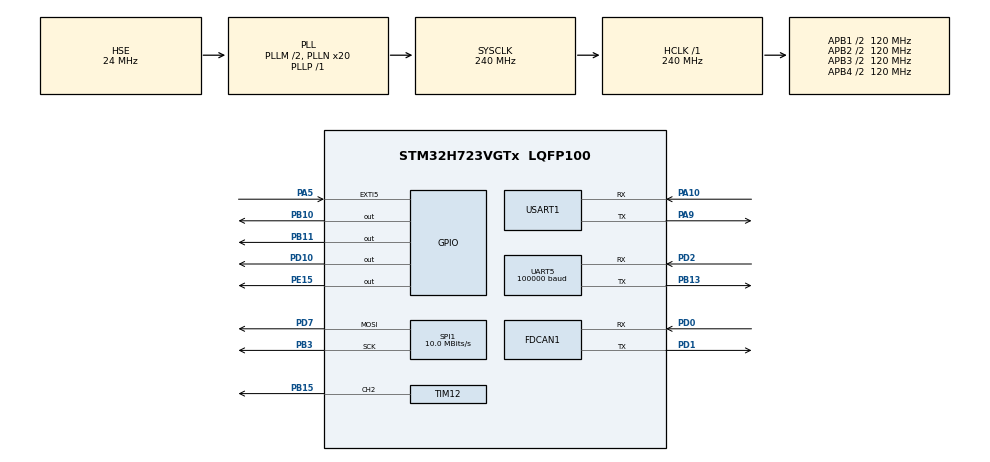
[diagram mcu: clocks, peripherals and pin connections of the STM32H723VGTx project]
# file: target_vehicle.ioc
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CORTEX_M7.AccessPermission_Spec=MPU_REGION_FULL_ACCESS
CORTEX_M7.BaseAddress_Spec=0x30000000
CORTEX_M7.CPU_DCache=Disabled
CORTEX_M7.CPU_ICache=Disabled
CORTEX_M7.IsShareable_Spec=MPU_ACCESS_SHAREABLE
CORTEX_M7.MPU_Control=__NULL
CORTEX_M7.Size_Spec=MPU_REGION_SIZE_16KB
CORTEX_M7.default_mode_Activation=1
FDCAN1.AutoRetransmission=ENABLE
FDCAN1.CalculateBaudRateNominal=1000000
FDCAN1.CalculateTimeBitNominal=1000
FDCAN1.CalculateTimeQuantumNominal=50.0
FDCAN1.DataSyncJumpWidth=2
FDCAN1.DataTimeSeg1=13
FDCAN1.DataTimeSeg2=2
FDCAN1.ExtFiltersNbr=4
FDCAN1.FrameFormat=FDCAN_FRAME_CLASSIC
FDCAN1.Mode=FDCAN_MODE_NORMAL
FDCAN1.NominalPrescaler=4
FDCAN1.NominalTimeSeg1=15
FDCAN1.NominalTimeSeg2=4
FDCAN1.RxBuffersNbr=2
FDCAN1.RxFifo0ElmtsNbr=10
FDCAN1.RxFifo1ElmtsNbr=10
FDCAN1.StdFiltersNbr=4
FDCAN1.TransmitPause=DISABLE
FDCAN1.TxBuffersNbr=10
FDCAN1.TxEventsNbr=10
FDCAN1.TxFifoQueueElmtsNbr=10
FREERTOS.Mutexes01=key_6220,Dynamic,NULL,Available;key_ZDT,Dynamic,NULL,Available
FREERTOS.Queues01=motor_can_rx_queue,16,8,1,Dynamic,NULL,NULL
FREERTOS.Tasks01=MotorReceiveTas,40,256,StartDefaultTask,Default,NULL,Dynamic,NULL,NULL;MotorSendTask,24,512,StartTask02,Default,NULL,Dynamic,NULL,NULL;ZDT_Control_1,24,256,StartTask03,Default,NULL,Dynamic,NULL,NULL;Flash_Save_Task,8,512,StartTask04,Default,NULL,Dynamic,NULL,NULL;ZDT_Control_2,24,256,StartTask05,Default,NULL,Dynamic,NULL,NULL;myTask06_3508,24,256,StartTask06,Default,NULL,Dynamic,NULL,NULL
Mcu.Family=STM32H7
Mcu.Name=STM32H723VGTx
Mcu.Package=LQFP100
NVIC.EXTI9_5_IRQn=true\:6\:0\:true\:false\:true\:true\:true\:true\:true
NVIC.FDCAN1_IT0_IRQn=true\:6\:0\:true\:false\:true\:true\:true\:true\:true
NVIC.PriorityGroup=NVIC_PRIORITYGROUP_4
NVIC.TIM1_UP_IRQn=true\:15\:0\:false\:false\:true\:false\:false\:true\:true
NVIC.TIM6_DAC_IRQn=true\:4\:0\:true\:false\:true\:false\:true\:true\:true
NVIC.TimeBase=TIM1_UP_IRQn
NVIC.TimeBaseIP=TIM1
NVIC.UART5_IRQn=true\:5\:0\:false\:false\:true\:true\:true\:true\:true
PA10.Mode=Asynchronous
PA10.Signal=USART1_RX
PA13(JTMS/SWDIO).Mode=Serial_Wire
PA13(JTMS/SWDIO).Signal=DEBUG_JTMS-SWDIO
PA14(JTCK/SWCLK).Mode=Serial_Wire
PA14(JTCK/SWCLK).Signal=DEBUG_JTCK-SWCLK
PA5.GPIO_ModeDefaultEXTI=GPIO_MODE_IT_FALLING
PA5.GPIO_PuPd=GPIO_PULLUP
PA5.Signal=GPXTI5
PA9.Mode=Asynchronous
PA9.Signal=USART1_TX
PB10.GPIO_Speed=GPIO_SPEED_FREQ_HIGH
PB10.PinState=GPIO_PIN_RESET
PB10.Signal=GPIO_Output
PB11.GPIO_Speed=GPIO_SPEED_FREQ_HIGH
PB11.PinState=GPIO_PIN_RESET
PB11.Signal=GPIO_Output
PB13.Mode=Asynchronous
PB13.Signal=UART5_TX
PB15.Signal=S_TIM12_CH2
PB3(JTDO/TRACESWO).Mode=TX_Only_Simplex_Unidirect_Master
PB3(JTDO/TRACESWO).Signal=SPI1_SCK
PD0.Mode=FDCAN_Activate
PD0.Signal=FDCAN1_RX
PD1.Mode=FDCAN_Activate
PD1.Signal=FDCAN1_TX
PD10.GPIO_Speed=GPIO_SPEED_FREQ_HIGH
PD10.PinState=GPIO_PIN_RESET
PD10.Signal=GPIO_Output
PD2.Mode=Asynchronous
PD2.Signal=UART5_RX
PD7.Mode=TX_Only_Simplex_Unidirect_Master
PD7.Signal=SPI1_MOSI
PE15.GPIO_Speed=GPIO_SPEED_FREQ_HIGH
PE15.PinState=GPIO_PIN_RESET
PE15.Signal=GPIO_Output
PH0-OSC_IN.Mode=HSE-External-Oscillator
PH0-OSC_IN.Signal=RCC_OSC_IN
PH1-OSC_OUT.Mode=HSE-External-Oscillator
PH1-OSC_OUT.Signal=RCC_OSC_OUT
ProjectManager.HeapSize=0x200
ProjectManager.StackSize=0x400
ProjectManager.TargetToolchain=MDK-ARM V5.32
RCC.ADCFreq_Value=48375000
RCC.APB1Freq_Value=120000000
RCC.APB2Freq_Value=120000000
RCC.APB3Freq_Value=120000000
RCC.APB4Freq_Value=120000000
RCC.CortexFreq_Value=240000000
RCC.D1PPRE=RCC_APB3_DIV2
RCC.D2PPRE1=RCC_APB1_DIV2
RCC.D2PPRE2=RCC_APB2_DIV2
RCC.D3PPRE=RCC_APB4_DIV2
RCC.DIVM1=2
RCC.DIVN1=20
RCC.DIVP1=1
RCC.DIVQ1=3
RCC.EnbaleCSS=true
RCC.HCLKFreq_Value=240000000
RCC.HSE_VALUE=24000000
RCC.PLL2FRACN=0
RCC.PLL3FRACN=0
RCC.PLLFRACN=0
RCC.PLLSourceVirtual=RCC_PLLSOURCE_HSE
RCC.SYSCLKFreq_VALUE=240000000
RCC.SYSCLKSource=RCC_SYSCLKSOURCE_PLLCLK
RCC.USBFreq_Value=80000000
SH.S_TIM12_CH2.0=TIM12_CH2,PWM Generation2 CH2
SPI1.BaudRatePrescaler=SPI_BAUDRATEPRESCALER_8
SPI1.CLKPolarity=SPI_POLARITY_HIGH
SPI1.CalculateBaudRate=10.0 MBits/s
SPI1.DataSize=SPI_DATASIZE_8BIT
SPI1.Direction=SPI_DIRECTION_2LINES_TXONLY
SPI1.Mode=SPI_MODE_MASTER
SPI1.VirtualType=VM_MASTER
TIM12.AutoReloadPreload=TIM_AUTORELOAD_PRELOAD_ENABLE
TIM12.Channel-PWM\ Generation2\ CH2=TIM_CHANNEL_2
TIM12.Period=999
TIM12.Prescaler=550
TIM12.Pulse-PWM\ Generation2\ CH2=499
TIM6.AutoReloadPreload=TIM_AUTORELOAD_PRELOAD_ENABLE
TIM6.Period=4999
TIM6.Prescaler=119
UART5.BaudRate=100000
UART5.Parity=PARITY_EVEN
UART5.WordLength=WORDLENGTH_9B
USART1.VirtualMode-Asynchronous=VM_ASYNC
VP_FREERTOS_VS_CMSIS_V2.Mode=CMSIS_V2
VP_MEMORYMAP_VS_MEMORYMAP.Mode=CurAppReg
VP_SYS_VS_tim1.Mode=TIM1
VP_TIM12_VS_ClockSourceINT.Mode=Internal
VP_TIM6_VS_ClockSourceINT.Mode=Enable_Timer
board=custom

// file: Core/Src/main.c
/* USER CODE BEGIN Header */
/**
  ******************************************************************************
  * @file           : main.c
  * @brief          : Main program body
  ******************************************************************************
  * @attention
  *
  * Copyright (c) 2026 STMicroelectronics.
  * All rights reserved.
  *
  * This software is licensed under terms that can be found in the LICENSE file
  * in the root directory of this software component.
  * If no LICENSE file comes with this software, it is provided AS-IS.
  *
  ******************************************************************************
  */
/* USER CODE END Header */
#include "main.h"
#include "FreeRTOS.h"
#include "cmsis_os2.h"
#include "fdcan.h"
#include "spi.h"
#include "tim.h"
#include "usart.h"
#include "gpio.h"

/* USER CODE BEGIN Includes */
#include "drv_damiao6220.h"
#include "lcd.h"
#include "pic.h"
#include "Motor.h"
#include "Chassis.h"
#include "IBUS.h"
#include "debug_tools.h"
/* USER CODE END Includes */

/* USER CODE BEGIN PD */
#define ABS(x) ((x) < 0 ? -(x) : (x))
/* USER CODE END PD */

/* USER CODE BEGIN PV */

//FDCAN_TxHeaderTypeDef Txheader;//放置位置还需要考虑，现在放在main里面,(现在放在fdcan宏定义里面)
FDCAN_RxHeaderTypeDef RxHeader;
volatile DJMotor_Feedback Lf_data;
volatile DJMotor_Feedback Rf_data;
volatile uint8_t g_control_tick;       // TIM6 1kHz 控制节拍
/* USER CODE END PV */

void SystemClock_Config(void);
void MX_FREERTOS_Init(void);

int main(void)
{

  /* MCU Configuration--------------------------------------------------------*/

  /* Reset of all peripherals, Initializes the Flash interface and the Systick. */
  HAL_Init();

  /* Configure the system clock */
  SystemClock_Config();

  /* Initialize all configured peripherals */
  MX_GPIO_Init();
  MX_TIM12_Init();
  MX_FDCAN1_Init();
  MX_USART1_UART_Init();
  MX_SPI1_Init();
  MX_TIM6_Init();
  MX_UART5_Init();
  /* USER CODE BEGIN 2 */

//过滤
	FDCAN_FilterTypeDef fdcan_filter;

	fdcan_filter.IdType = FDCAN_STANDARD_ID;                       //标准ID
	fdcan_filter.FilterIndex = 0;                                  //滤波器索引
	fdcan_filter.FilterType = FDCAN_FILTER_MASK;
	fdcan_filter.FilterConfig = FDCAN_FILTER_TO_RXFIFO0;           //过滤器0关联到FIFO0
	fdcan_filter.FilterID1 = 0x00;
	fdcan_filter.FilterID2 = 0x00;

	HAL_FDCAN_ConfigFilter(&hfdcan1,&fdcan_filter); 		 				  //接收ID2
	//拒绝接收匹配不成功的标准ID和扩展ID,不接受远程帧

		/* 过滤器 0: 扩展帧 -- 全部放行 (ZDT 步进电机) */
		fdcan_filter.IdType = FDCAN_EXTENDED_ID;
		fdcan_filter.FilterIndex = 0;
		fdcan_filter.FilterType = FDCAN_FILTER_MASK;
		fdcan_filter.FilterConfig = FDCAN_FILTER_TO_RXFIFO0;
		fdcan_filter.FilterID1 = 0x00;
		fdcan_filter.FilterID2 = 0x00;
		HAL_FDCAN_ConfigFilter(&hfdcan1, &fdcan_filter);
	HAL_FDCAN_ConfigGlobalFilter(&hfdcan1,FDCAN_REJECT,FDCAN_REJECT,FDCAN_REJECT_REMOTE,FDCAN_REJECT_REMOTE);
	HAL_FDCAN_ConfigFifoWatermark(&hfdcan1, FDCAN_CFG_RX_FIFO0, 1);

		//HAL_TIM_PWM_Start(&htim12, TIM_CHANNEL_2);

		LCD_Init();
		LCD_Fill(0, 0, LCD_W, LCD_H, BLACK);

		LCD_ShowPicture(90, 20, 70, 50, gImage_pic);
		LCD_ShowChinese(10, 100, (uint8_t *)gb_label_small, WHITE, BLACK, 24, 0);
		LCD_ShowChinese(10, 150, (uint8_t *)gb_label_big, WHITE, BLACK, 24, 0);
		// 初始显示 0
		LCD_ShowString(180, 100, (uint8_t *)"0", BRRED, BLACK, 24, 0);
		LCD_ShowString(180, 150, (uint8_t *)"0", BRRED, BLACK, 24, 0);

	// ========== 底盘电机 PID 初始化 ==========
	Motor_Init();

  /* USER CODE END 2 */

  /* Init scheduler */
  osKernelInitialize();  /* Call init function for freertos objects (in cmsis_os2.c) */
  MX_FREERTOS_Init();

  /* Start scheduler */
  osKernelStart();

  /* We should never get here as control is now taken by the scheduler */

  /* Infinite loop */
  while (1)
  {

    /* USER CODE BEGIN 3 */
    /*蜂鸣器

		i++;
 if(i>10000)
	 {
 if(state==0)
	{
		state=1;
		i=0;
	}
	 else
	 {
		 state=0;
		 i=0;
	 }
 if(now!=state){
	 now=state;
	if(state==1){
	__HAL_TIM_SET_COMPARE(&htim12, TIM_CHANNEL_2,100 );

	}
 else{
  __HAL_TIM_SET_COMPARE(&htim12, TIM_CHANNEL_2,500 );

 }
 }
 }*/

  }
  /* USER CODE END 3 */
}

void SystemClock_Config(void)
{
  RCC_OscInitTypeDef RCC_OscInitStruct = {0};
  RCC_ClkInitTypeDef RCC_ClkInitStruct = {0};

  /** Supply configuration update enable
  */
  HAL_PWREx_ConfigSupply(PWR_LDO_SUPPLY);

  /** Configure the main internal regulator output voltage
  */
  __HAL_PWR_VOLTAGESCALING_CONFIG(PWR_REGULATOR_VOLTAGE_SCALE0);

  while(!__HAL_PWR_GET_FLAG(PWR_FLAG_VOSRDY)) {}

  /** Initializes the RCC Oscillators according to the specified parameters
  * in the RCC_OscInitTypeDef structure.
  */
  RCC_OscInitStruct.OscillatorType = RCC_OSCILLATORTYPE_HSE;
  RCC_OscInitStruct.HSEState = RCC_HSE_ON;
  RCC_OscInitStruct.PLL.PLLState = RCC_PLL_ON;
  RCC_OscInitStruct.PLL.PLLSource = RCC_PLLSOURCE_HSE;
  RCC_OscInitStruct.PLL.PLLM = 2;
  RCC_OscInitStruct.PLL.PLLN = 20;
  RCC_OscInitStruct.PLL.PLLP = 1;
  RCC_OscInitStruct.PLL.PLLQ = 3;
  RCC_OscInitStruct.PLL.PLLR = 2;
  RCC_OscInitStruct.PLL.PLLRGE = RCC_PLL1VCIRANGE_3;
  RCC_OscInitStruct.PLL.PLLVCOSEL = RCC_PLL1VCOWIDE;
  RCC_OscInitStruct.PLL.PLLFRACN = 0;
  if (HAL_RCC_OscConfig(&RCC_OscInitStruct) != HAL_OK)
  {
    Error_Handler();
  }

  /** Initializes the CPU, AHB and APB buses clocks
  */
  RCC_ClkInitStruct.ClockType = RCC_CLOCKTYPE_HCLK|RCC_CLOCKTYPE_SYSCLK
                              |RCC_CLOCKTYPE_PCLK1|RCC_CLOCKTYPE_PCLK2
                              |RCC_CLOCKTYPE_D3PCLK1|RCC_CLOCKTYPE_D1PCLK1;
  RCC_ClkInitStruct.SYSCLKSource = RCC_SYSCLKSOURCE_PLLCLK;
  RCC_ClkInitStruct.SYSCLKDivider = RCC_SYSCLK_DIV1;
  RCC_ClkInitStruct.AHBCLKDivider = RCC_HCLK_DIV1;
  RCC_ClkInitStruct.APB3CLKDivider = RCC_APB3_DIV2;
  RCC_ClkInitStruct.APB1CLKDivider = RCC_APB1_DIV2;
  RCC_ClkInitStruct.APB2CLKDivider = RCC_APB2_DIV2;
  RCC_ClkInitStruct.APB4CLKDivider = RCC_APB4_DIV2;

  if (HAL_RCC_ClockConfig(&RCC_ClkInitStruct, FLASH_LATENCY_3) != HAL_OK)
  {
    Error_Handler();
  }

  /** Enables the Clock Security System
  */
  HAL_RCC_EnableCSS();
}

/* USER CODE BEGIN 4 */
#include "Motor.h"
/* USER CODE END 4 */

void HAL_TIM_PeriodElapsedCallback(TIM_HandleTypeDef *htim)
{
  if (htim->Instance == TIM1)
  {
    HAL_IncTick();
  }
  /* USER CODE BEGIN Callback 1 */
  if (htim->Instance == TIM6) {
    g_control_tick++;
    Motor_Control();
  }
  /* USER CODE END Callback 1 */
}

void Error_Handler(void)
{
  __disable_irq();
  while (1)
  {
  }
}

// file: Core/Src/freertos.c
/* USER CODE BEGIN Header */
/**
  ******************************************************************************
  * File Name          : freertos.c
  * Description        : Code for freertos applications
  ******************************************************************************
  * @attention
  *
  * Copyright (c) 2026 STMicroelectronics.
  * All rights reserved.
  *
  * This software is licensed under terms that can be found in the LICENSE file
  * in the root directory of this software component.
  * If no LICENSE file comes with this software, it is provided AS-IS.
  *
  ******************************************************************************
  */
/* USER CODE END Header */

#include "FreeRTOS.h"
#include "task.h"
#include "main.h"
#include "FreeRTOS.h"
#include "cmsis_os2.h"

/* USER CODE BEGIN Includes */
#include <stdio.h>
#include <string.h>
#include "drv_damiao6220.h"
#include "fdcan.h"
#include "6220pid.h"
#include "ZDT_X57_v2motor.h"
#include "tim.h"
#include "spi.h"
#include "Motor.h"
#include "Chassis.h"
#include "IBUS.h"
/* USER CODE END Includes */

/* USER CODE BEGIN PTD */
extern FDCAN_Motor_MoveState motor_movestate;       // 6220 电机状态（单例）
volatile ZDT_Motor_State zdt_motor[2];              // ZDT 双电机状态 [0]=电机1, [1]=电机2
volatile ZDT_Cmd_Msg_t zdt_cmd[2];                   // ZDT 双电机命令接口
extern volatile uint8_t g_control_tick;              // TIM6 1kHz 控制节拍
/* USER CODE END PTD */

/* USER CODE BEGIN PD */
#define ABS(x) ((x) < 0 ? -(x) : (x))
/* 遥控器通道→6220 云台的映射 */
#define CH2_POS_SCALE   (P_MAX / 660.0f)    // ch2 → 位置 (直接映射)
#define CH3_VEL_SCALE   (V_MAX / 660.0f)    // ch3 → 速度
#define CH2_RATE_SCALE  (10.0f / 660.0f)    // ch2 → 位置变化速率 (rad/s)
/* USER CODE END PD */

/* USER CODE BEGIN Variables */
volatile uint8_t motor_ready = 0;  // 0=未就绪, 1=反馈已到达, PID 可以使用
/* USER CODE END Variables */
/* Definitions for MotorReceiveTas */
osThreadId_t MotorReceiveTasHandle;
const osThreadAttr_t MotorReceiveTas_attributes = {
  .name = "MotorReceiveTas",
  .stack_size = 256 * 4,
  .priority = (osPriority_t) osPriorityHigh,
};
/* Definitions for MotorSendTask */
osThreadId_t MotorSendTaskHandle;
const osThreadAttr_t MotorSendTask_attributes = {
  .name = "MotorSendTask",
  .stack_size = 512 * 4,
  .priority = (osPriority_t) osPriorityNormal,
};
/* Definitions for ZDT_Control_1 */
osThreadId_t ZDT_Control_1Handle;
const osThreadAttr_t ZDT_Control_1_attributes = {
  .name = "ZDT_Control_1",
  .stack_size = 256 * 4,
  .priority = (osPriority_t) osPriorityNormal,
};
/* Definitions for Flash_Save_Task */
osThreadId_t Flash_Save_TaskHandle;
const osThreadAttr_t Flash_Save_Task_attributes = {
  .name = "Flash_Save_Task",
  .stack_size = 512 * 4,
  .priority = (osPriority_t) osPriorityLow,
};
/* Definitions for ZDT_Control_2 */
osThreadId_t ZDT_Control_2Handle;
const osThreadAttr_t ZDT_Control_2_attributes = {
  .name = "ZDT_Control_2",
  .stack_size = 256 * 4,
  .priority = (osPriority_t) osPriorityNormal,
};
/* Definitions for myTask06_3508 */
osThreadId_t myTask06_3508Handle;
const osThreadAttr_t myTask06_3508_attributes = {
  .name = "myTask06_3508",
  .stack_size = 256 * 4,
  .priority = (osPriority_t) osPriorityNormal,
};
/* Definitions for motor_can_rx_queue */
osMessageQueueId_t motor_can_rx_queueHandle;
const osMessageQueueAttr_t motor_can_rx_queue_attributes = {
  .name = "motor_can_rx_queue"
};
/* Definitions for key_6220 */
osMutexId_t key_6220Handle;
const osMutexAttr_t key_6220_attributes = {
  .name = "key_6220"
};
/* Definitions for key_ZDT */
osMutexId_t key_ZDTHandle;
const osMutexAttr_t key_ZDT_attributes = {
  .name = "key_ZDT"
};

void StartDefaultTask(void *argument);
void StartTask02(void *argument);
void StartTask03(void *argument);
void StartTask04(void *argument);
void StartTask05(void *argument);
void StartTask06(void *argument);

void MX_FREERTOS_Init(void); /* (MISRA C 2004 rule 8.1) */

void MX_FREERTOS_Init(void) {
  /* Create the mutex(es) */
  /* creation of key_6220 */
  key_6220Handle = osMutexNew(&key_6220_attributes);

  /* creation of key_ZDT */
  key_ZDTHandle = osMutexNew(&key_ZDT_attributes);

  /* Create the queue(s) */
  /* creation of motor_can_rx_queue */
  motor_can_rx_queueHandle = osMessageQueueNew (16, 8, &motor_can_rx_queue_attributes);

  /* Create the thread(s) */
  /* creation of MotorReceiveTas */
  MotorReceiveTasHandle = osThreadNew(StartDefaultTask, NULL, &MotorReceiveTas_attributes);

  /* creation of MotorSendTask */
  MotorSendTaskHandle = osThreadNew(StartTask02, NULL, &MotorSendTask_attributes);

  /* creation of ZDT_Control_1 */
  ZDT_Control_1Handle = osThreadNew(StartTask03, NULL, &ZDT_Control_1_attributes);

  /* creation of Flash_Save_Task */
  Flash_Save_TaskHandle = osThreadNew(StartTask04, NULL, &Flash_Save_Task_attributes);

  /* creation of ZDT_Control_2 */
  ZDT_Control_2Handle = osThreadNew(StartTask05, NULL, &ZDT_Control_2_attributes);

  /* creation of myTask06_3508 */
  myTask06_3508Handle = osThreadNew(StartTask06, NULL, &myTask06_3508_attributes);

}

void StartDefaultTask(void *argument)
{
  /* USER CODE BEGIN StartDefaultTask */
  /**
   * Task1: MotorReceiveTas (osPriorityHigh)
   * 功能: 6220 电机 CAN 反馈接收
   * - 上电使能 FDCAN 中断，使能电机
   * - 收第一帧反馈初始化 gimbal_pos
   * - 循环阻塞读取消息队列，解析反馈帧
   */
  /* Infinite loop */
	HAL_FDCAN_Start(&hfdcan1);
	HAL_FDCAN_ActivateNotification(&hfdcan1, FDCAN_IT_RX_FIFO0_NEW_MESSAGE | FDCAN_IT_BUS_OFF, 0);
  uint8_t rx_data[8];
	osDelay(300);
  DRV6220_Enable_Motor(0x01);

  /* 3. 收第一帧反馈初始化真实位置*/
  osMessageQueueGet(motor_can_rx_queueHandle, rx_data, NULL, osWaitForever);
  osMutexAcquire(key_6220Handle, osWaitForever);
  if ((rx_data[0] & 0x0F) == 0x01) {
      Prase_Motor_Feedback(rx_data);
  }
  osMutexRelease(key_6220Handle);

  /* 等多几帧让速度观测器稳定*/
  for (int i = 0; i < 10; i++) {
      osMessageQueueGet(motor_can_rx_queueHandle, rx_data, NULL, osWaitForever);
      osMutexAcquire(key_6220Handle, osWaitForever);
      Prase_Motor_Feedback(rx_data);
      osMutexRelease(key_6220Handle);
  }

  motor_ready = 1;                     // 4. 通知 MotorSendTask 可以开启PID

  for(;;)
  {

    if(osMessageQueueGet(motor_can_rx_queueHandle, rx_data, NULL, osWaitForever) == osOK)
    {
      osMutexAcquire(key_6220Handle, osWaitForever);

      if((rx_data[0] & 0x0F) == 0x01){
          Prase_Motor_Feedback(rx_data);
      }
      osMutexRelease(key_6220Handle);
    }
  }
  /* USER CODE END StartDefaultTask */
}

void StartTask02(void *argument)
{
  /* USER CODE BEGIN StartTask02 */
  /**
   * Task2: MotorSendTask (osPriorityNormal)
   * 功能: 6220 云台电机 PID + 遥控器控制
   * - s1=1: 6220停机, ZDT不动
   * - s1=2: 6220 ch3速度 + ZDT ch2
   * - s1=3: 6220 ch3速度模式, ZDT不动
   */
  float t_ff = 0;
  PID_Mode_t current_mode = PID_MODE_VELOCITY;
  static int32_t zdt_target[2] = {0, 0};
  static uint8_t zdt_pos_inited = 0;
  static uint16_t startup_hold = 0;   // 上电1秒禁止电机运动
  static uint8_t zdt_allow = 0;

  HAL_UARTEx_ReceiveToIdle_IT(&huart5, DBUS_RX_Buffer, 18);
  osDelay(200);

  for(;;)
  {
    if (!motor_ready) { osDelay(1); continue; }  // 6220就绪再跑控制

    /*
    上电1秒禁止电机运动，到期清 DMA 缓存 这段代码很重要！！！  因为dma一开始搬运了一堆shit！！！
    本人已和6220干了一架
    */
    if (startup_hold < 1000) {
        startup_hold++;
        if (startup_hold == 1000) {
            memset(DBUS_RX_Buffer, 0, 18);
            memset((void*)&Remote, 0, sizeof(Remote_t));
            HAL_UARTEx_ReceiveToIdle_IT(&huart5, DBUS_RX_Buffer, 18);
        }
        if (Remote.ch2 < -5 || Remote.ch2 > 5) zdt_allow = 1;
        t_ff = 0.0f;
        DRV6220_Control_Torque(0x01, 0.0f, current_mode);
        osDelay(1);
        continue;
    }

    /* ===== ZDT 控制 (s1=2 速度, s1=3 位置) ===== */
    if (Remote.s1 == 2 || Remote.s1 == 3) {
        int16_t ch2_raw = Remote.ch2;
        if (ch2_raw > -5 && ch2_raw < 5) ch2_raw = 0;
        int32_t val;
        if (Remote.s1 == 2) {
            val = (int32_t)((float)ch2_raw * 20.0f / 660.0f);      // 速度 ±20 RPM
        } else {
            static int32_t zdt_pos_ref = 0;
            if (!zdt_pos_inited) {
                zdt_pos_ref = (zdt_motor[0].real_pos + zdt_motor[1].real_pos) / 2;
                zdt_pos_inited = 1;
            }
            int32_t offset = (int32_t)((float)ch2_raw * 180000.0f / 660.0f);
            val = zdt_pos_ref + offset;
        }
        zdt_cmd[0].target_val = val;
        zdt_cmd[1].target_val = val;
        zdt_cmd[0].changepos = 1;
        zdt_cmd[1].changepos = 1;
    }

    /* ===== 6220 控制 ===== */
    if (Remote.s1 == 1) {
      /* s1=1: 停机 */
      zdt_pos_inited = 0;
      set_position(motor_movestate.gimbal_pos);
      ZDT_Release_Stall(1);
      ZDT_Release_Stall(2);
      t_ff = 0.0f;
    }
    else
            if (Remote.s1 == 2||Remote.s1 == 3)
            {
            /* s1=2: 6220 ch3 速度 + ZDT ch2 */
            float vel = (float)Remote.ch3 * CH3_VEL_SCALE;
            if (vel > -1.0f && vel < 1.0f) vel = 0.0f;
            static uint16_t vel_zero_cnt = 0;
           if (vel == 0.0f) {
                if (vel_zero_cnt < 1000) {
                    vel_zero_cnt++;
                    if (vel_zero_cnt == 1000) {
                        set_position(motor_movestate.gimbal_pos);
                    }
                    set_velocity(0.0f);
                    set_pid_mode(PID_MODE_VELOCITY);
                    current_mode = PID_MODE_VELOCITY;
                    osMutexAcquire(key_6220Handle, osWaitForever);
                    t_ff = motor_ready ? update_pid_v() : 0.0f;
                    osMutexRelease(key_6220Handle);
                } else {
                    set_pid_mode(PID_MODE_POSITION);
                    current_mode = PID_MODE_POSITION;
                    osMutexAcquire(key_6220Handle, osWaitForever);
                    update_pid_p();
                    t_ff = motor_ready ? update_pid_v() : 0.0f;
                    osMutexRelease(key_6220Handle);
                }
            } else {
                vel_zero_cnt = 0;
                set_velocity(vel);
                set_pid_mode(PID_MODE_VELOCITY);
                current_mode = PID_MODE_VELOCITY;
                osMutexAcquire(key_6220Handle, osWaitForever);
                t_ff = motor_ready ? update_pid_v() : 0.0f;
                osMutexRelease(key_6220Handle);
            }
            }
    else {
            zdt_pos_inited = 0;
            t_ff = 0.0f;
          }

    DRV6220_Control_Torque(0x01, t_ff, current_mode);
  }
  /* USER CODE END StartTask02 */
}

void StartTask03(void *argument)
{
  /* USER CODE BEGIN StartTask03 */
  /**
   * Task3: ZDT_Receive_Sen (osPriorityNormal)
   * 功能: 1号 ZDT 步进电机 速度控制
   */
  /* Infinite loop */
  ZDT_Enable_Motor(1, 1);
  zdt_motor[0].motor_id    = 1;
  zdt_motor[0].is_stalled  = 0;

  for(;;)
  {
      if (zdt_motor[0].is_stalled != 1 && zdt_cmd[0].changepos) {
          if (Remote.s1 == 2)      ZDT_Velocity_Mode(1, zdt_cmd[0].target_val, 30);
          else if (Remote.s1 == 3) ZDT_ArmorPlate_Move(1, zdt_cmd[0].target_val);
          zdt_cmd[0].changepos = 0;
      }
      osDelay(10);
  }
  /* USER CODE END StartTask03 */
}

void StartTask04(void *argument)
{
  /* USER CODE BEGIN StartTask04 */
  /**
   * Task4: Flash_Save_Task (osPriorityBelowNormal)
   * 功能: ZDT 位置查询 + Flash 存储 + LCD 击打数刷新
   * - 查询两个电机的实时位置(0x36)
   * - 位置变化达到3600 脉冲 写入 Flash
   * - ZDT 查询LCD 刷新间隔 1s，避SPI 冲突
   * - LCD 每周期刷新一次击打数
   */
  /* Infinite loop */
 int32_t last_pos[2];
  last_pos[0] = Read_Pos_From_Flash(1);
  last_pos[1] = Read_Pos_From_Flash(2);
  for(;;)
  {
        ZDT_Request_Position(1);
        osDelay(5);
        ZDT_Request_Position(2);
        osDelay(5);

        int32_t diff1 = ABS(zdt_motor[0].real_pos - last_pos[0]);
        int32_t diff2 = ABS(zdt_motor[1].real_pos - last_pos[1]);

        if (diff1 >= 3600 || diff2 >= 3600)
        {
            Save_Both_Motors_To_Flash(zdt_motor[0].real_pos, zdt_motor[1].real_pos);
            last_pos[0] = zdt_motor[0].real_pos;
            last_pos[1] = zdt_motor[1].real_pos;
        }

        // ZDT 查询LCD 刷新隔开
        osDelay(1000);
        LCD_DisplayUpdate();
    osDelay(10000);  // LCD 刷新间隔 10s
  }
  /* USER CODE END StartTask04 */
}

void StartTask05(void *argument)
{
  /* USER CODE BEGIN StartTask05 */
  /**
   * Task5: ZDT_Control (osPriorityLow)
   * 功能: 2号 ZDT 步进电机 速度控制
   */
  /* Infinite loop */
  ZDT_Enable_Motor(2, 1);
  zdt_motor[1].motor_id    = 2;
  zdt_motor[1].is_stalled  = 0;

  for(;;)
  {
      if (zdt_motor[1].is_stalled != 1 && zdt_cmd[1].changepos) {
          if (Remote.s1 == 2)      ZDT_Velocity_Mode(2, zdt_cmd[1].target_val, 30);
          else if (Remote.s1 == 3) ZDT_ArmorPlate_Move(2, zdt_cmd[1].target_val);
          zdt_cmd[1].changepos = 0;
      }
      osDelay(10);
  }
  /* USER CODE END StartTask05 */
}

void StartTask06(void *argument)
{
  /* USER CODE BEGIN StartTask06 */
  /**
   * Task6: myTask06_3508 (osPriorityNormal)
   * 功能: M3508 底盘电机遥控控制
   * - 轮询 g_control_tick (TIM6 1kHz 节拍)
   * - 每拍读取 IBUS 遥控信号，计算差速运动学，更新目标转速
   * - Motor_Control() 通过 TIM6 ISR 直接调用 (PID + CAN 发送)
   */
  Motor_SetMode(MOTOR_MODE_SPEED);

  uint8_t last_tick = 0;

  for(;;)
  {
    if (g_control_tick == last_tick) {
      osDelay(1);
      continue;
    }
    last_tick = g_control_tick;

    /* s2=2: 3508 底盘控制，s2=1 s2=3 暂停*/
    if (Remote.s2 == 2) {
      float vx = (float)Remote.ch1 / 660.0f;
      float vR = (float)Remote.ch0 / 660.0f;
      float lf_rpm, rf_rpm;
      Chassis_Movement(vx, vR, &lf_rpm, &rf_rpm);
      Motor_SetTargetRPM_LF((int32_t)lf_rpm);
      Motor_SetTargetRPM_RF((int32_t)rf_rpm);
    }
    else {
    // 保命刹车，只要不在控制档位，必须强行塞 0 进信箱！
    Motor_SetTargetRPM_LF(0);
    Motor_SetTargetRPM_RF(0);
        }

    osDelay(1);
  }
  /* USER CODE END StartTask06 */
}
